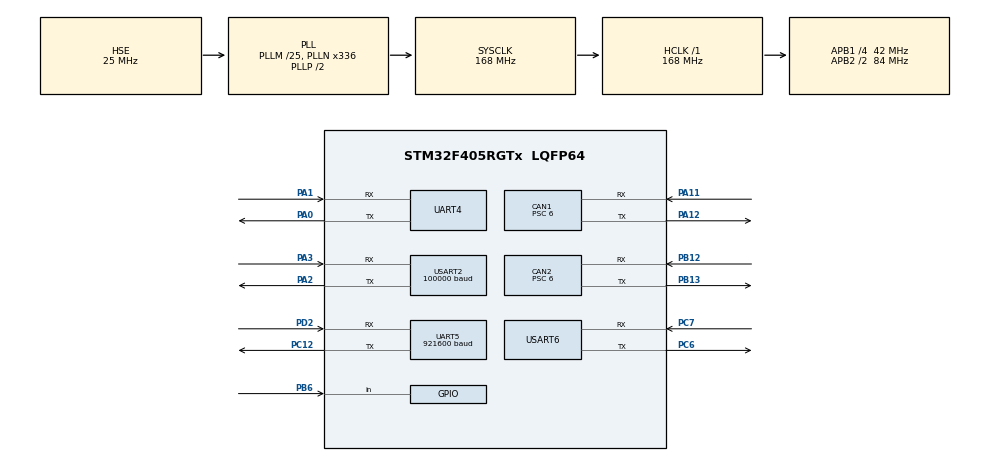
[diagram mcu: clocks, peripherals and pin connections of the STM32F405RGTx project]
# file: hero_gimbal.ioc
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CAN1.ABOM=ENABLE
CAN1.AWUM=ENABLE
CAN1.BS1=CAN_BS1_4TQ
CAN1.BS2=CAN_BS2_2TQ
CAN1.CalculateBaudRate=1000000
CAN1.CalculateTimeBit=1000
CAN1.CalculateTimeQuantum=142.85714285714286
CAN1.NART=ENABLE
CAN1.Prescaler=6
CAN1.SJW=CAN_SJW_4TQ
CAN2.ABOM=ENABLE
CAN2.AWUM=ENABLE
CAN2.BS1=CAN_BS1_4TQ
CAN2.BS2=CAN_BS2_2TQ
CAN2.CalculateBaudRate=1000000
CAN2.CalculateTimeBit=1000
CAN2.CalculateTimeQuantum=142.85714285714286
CAN2.NART=ENABLE
CAN2.Prescaler=6
CAN2.SJW=CAN_SJW_4TQ
Dma.Request0=USART2_RX
Dma.Request1=UART4_RX
Dma.UART4_RX.1.Direction=DMA_PERIPH_TO_MEMORY
Dma.UART4_RX.1.FIFOMode=DMA_FIFOMODE_DISABLE
Dma.UART4_RX.1.Instance=DMA1_Stream2
Dma.UART4_RX.1.MemDataAlignment=DMA_MDATAALIGN_BYTE
Dma.UART4_RX.1.MemInc=DMA_MINC_ENABLE
Dma.UART4_RX.1.Mode=DMA_CIRCULAR
Dma.UART4_RX.1.PeriphDataAlignment=DMA_PDATAALIGN_BYTE
Dma.UART4_RX.1.PeriphInc=DMA_PINC_DISABLE
Dma.UART4_RX.1.Priority=DMA_PRIORITY_VERY_HIGH
Dma.USART2_RX.0.Direction=DMA_PERIPH_TO_MEMORY
Dma.USART2_RX.0.FIFOMode=DMA_FIFOMODE_DISABLE
Dma.USART2_RX.0.Instance=DMA1_Stream5
Dma.USART2_RX.0.MemDataAlignment=DMA_MDATAALIGN_BYTE
Dma.USART2_RX.0.MemInc=DMA_MINC_ENABLE
Dma.USART2_RX.0.Mode=DMA_CIRCULAR
Dma.USART2_RX.0.PeriphDataAlignment=DMA_PDATAALIGN_BYTE
Dma.USART2_RX.0.PeriphInc=DMA_PINC_DISABLE
Dma.USART2_RX.0.Priority=DMA_PRIORITY_VERY_HIGH
FREERTOS.Tasks01=defaultTask,0,128,StartDefaultTask,Default,NULL,Dynamic,NULL,NULL;IniyializaTask,-3,128,StartTask02,Default,NULL,Dynamic,NULL,NULL
IWDG.Prescaler=IWDG_PRESCALER_4
IWDG.Reload=160
Mcu.Family=STM32F4
Mcu.Name=STM32F405RGTx
Mcu.Package=LQFP64
NVIC.CAN1_RX0_IRQn=true\:7\:0\:true\:false\:true\:true\:true\:true\:true
NVIC.CAN2_RX0_IRQn=true\:8\:0\:true\:false\:true\:true\:true\:true\:true
NVIC.DMA1_Stream2_IRQn=true\:5\:0\:false\:false\:true\:true\:false\:true\:true
NVIC.DMA1_Stream5_IRQn=true\:5\:0\:false\:false\:true\:true\:false\:true\:true
NVIC.PriorityGroup=NVIC_PRIORITYGROUP_4
NVIC.TIM7_IRQn=true\:15\:0\:true\:false\:true\:true\:true\:true\:true
NVIC.TIM8_TRG_COM_TIM14_IRQn=true\:15\:0\:false\:false\:true\:false\:false\:true\:true
NVIC.TimeBase=TIM8_TRG_COM_TIM14_IRQn
NVIC.TimeBaseIP=TIM14
NVIC.UART4_IRQn=true\:6\:0\:true\:false\:true\:true\:true\:true\:true
NVIC.UART5_IRQn=true\:5\:0\:true\:false\:true\:true\:true\:true\:true
NVIC.USART2_IRQn=true\:7\:0\:true\:false\:true\:true\:true\:true\:true
NVIC.USART6_IRQn=true\:5\:0\:false\:false\:true\:true\:true\:true\:true
PA0-WKUP.Mode=Asynchronous
PA0-WKUP.Signal=UART4_TX
PA1.Mode=Asynchronous
PA1.Signal=UART4_RX
PA11.Mode=CAN_Activate
PA11.Signal=CAN1_RX
PA12.Mode=CAN_Activate
PA12.Signal=CAN1_TX
PA13.Mode=Serial_Wire
PA13.Signal=SYS_JTMS-SWDIO
PA14.Mode=Serial_Wire
PA14.Signal=SYS_JTCK-SWCLK
PA2.Mode=Asynchronous
PA2.Signal=USART2_TX
PA3.Mode=Asynchronous
PA3.Signal=USART2_RX
PB12.Mode=CAN_Activate
PB12.Signal=CAN2_RX
PB13.Mode=CAN_Activate
PB13.Signal=CAN2_TX
PB6.GPIO_Mode=GPIO_MODE_INPUT
PB6.GPIO_PuPd=GPIO_PULLUP
PB6.Signal=GPIO_Input
PC12.Mode=Asynchronous
PC12.Signal=UART5_TX
PC6.Mode=Asynchronous
PC6.Signal=USART6_TX
PC7.Mode=Asynchronous
PC7.Signal=USART6_RX
PD2.Mode=Asynchronous
PD2.Signal=UART5_RX
PH0-OSC_IN.Mode=HSE-External-Oscillator
PH0-OSC_IN.Signal=RCC_OSC_IN
PH1-OSC_OUT.Mode=HSE-External-Oscillator
PH1-OSC_OUT.Signal=RCC_OSC_OUT
ProjectManager.HeapSize=0x200
ProjectManager.StackSize=0x400
ProjectManager.TargetToolchain=MDK-ARM V5.32
RCC.48MHZClocksFreq_Value=84000000
RCC.AHBFreq_Value=168000000
RCC.APB1CLKDivider=RCC_HCLK_DIV4
RCC.APB1Freq_Value=42000000
RCC.APB1TimFreq_Value=84000000
RCC.APB2CLKDivider=RCC_HCLK_DIV2
RCC.APB2Freq_Value=84000000
RCC.APB2TimFreq_Value=168000000
RCC.CortexFreq_Value=168000000
RCC.HCLKFreq_Value=168000000
RCC.HSE_VALUE=25000000
RCC.HSI_VALUE=16000000
RCC.LSE_VALUE=32768
RCC.PLLM=25
RCC.PLLN=336
RCC.PLLSourceVirtual=RCC_PLLSOURCE_HSE
RCC.SYSCLKFreq_VALUE=168000000
RCC.SYSCLKSource=RCC_SYSCLKSOURCE_PLLCLK
RCC.VCOOutputFreq_Value=336000000
TIM7.AutoReloadPreload=TIM_AUTORELOAD_PRELOAD_ENABLE
TIM7.Period=29
TIM7.Prescaler=8399
UART4.VirtualMode=Asynchronous
UART5.BaudRate=921600
UART5.VirtualMode=Asynchronous
USART2.BaudRate=100000
USART2.Mode=MODE_RX
USART2.Parity=PARITY_EVEN
USART2.VirtualMode=VM_ASYNC
USART2.WordLength=WORDLENGTH_9B
USART6.VirtualMode=VM_ASYNC
VP_FREERTOS_VS_CMSIS_V1.Mode=CMSIS_V1
VP_IWDG_VS_IWDG.Mode=IWDG_Activate
VP_SYS_VS_tim14.Mode=TIM14
VP_TIM7_VS_ClockSourceINT.Mode=Enable_Timer
board=custom

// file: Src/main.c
/* USER CODE BEGIN Header */
/**
  ******************************************************************************
  * @file           : main.c
  * @brief          : Main program body
  ******************************************************************************
  * @attention
  *
  * Copyright (c) 2023 STMicroelectronics.
  * All rights reserved.
  *
  * This software is licensed under terms that can be found in the LICENSE file
  * in the root directory of this software component.
  * If no LICENSE file comes with this software, it is provided AS-IS.
  *
  ******************************************************************************
  */
/* USER CODE END Header */
#include "main.h"
#include "cmsis_os.h"
/* USER CODE BEGIN Includes */
#include "gimbal.h"
#include "gyro.h"
#include "uartidle.h"
/* USER CODE END Includes */

void SystemClock_Config(void);
void MX_FREERTOS_Init(void);

int main(void)
{

  /* MCU Configuration--------------------------------------------------------*/

  /* Reset of all peripherals, Initializes the Flash interface and the Systick. */
  HAL_Init();

  /* Configure the system clock */
  SystemClock_Config();

  /* Initialize all configured peripherals */
  MX_GPIO_Init();
  MX_DMA_Init();
  MX_CAN1_Init();
  MX_CAN2_Init();
  MX_TIM7_Init();
  MX_USART2_UART_Init();
  MX_UART4_Init();
  MX_USART6_UART_Init();
  MX_UART5_Init();
//  MX_IWDG_Init();

  /* Call init function for freertos objects (in freertos.c) */
  MX_FREERTOS_Init();

  /* Start scheduler */
  osKernelStart();

  /* We should never get here as control is now taken by the scheduler */
  /* Infinite loop */
  while (1)
  {

  }
}

void SystemClock_Config(void)
{
  RCC_OscInitTypeDef RCC_OscInitStruct = {0};
  RCC_ClkInitTypeDef RCC_ClkInitStruct = {0};

  /** Configure the main internal regulator output voltage
  */
  __HAL_RCC_PWR_CLK_ENABLE();
  __HAL_PWR_VOLTAGESCALING_CONFIG(PWR_REGULATOR_VOLTAGE_SCALE1);

  /** Initializes the RCC Oscillators according to the specified parameters
  * in the RCC_OscInitTypeDef structure.
  */
  RCC_OscInitStruct.OscillatorType = RCC_OSCILLATORTYPE_LSI|RCC_OSCILLATORTYPE_HSE;
  RCC_OscInitStruct.HSEState = RCC_HSE_ON;
  RCC_OscInitStruct.LSIState = RCC_LSI_ON;
  RCC_OscInitStruct.PLL.PLLState = RCC_PLL_ON;
  RCC_OscInitStruct.PLL.PLLSource = RCC_PLLSOURCE_HSE;
  RCC_OscInitStruct.PLL.PLLM = 25;
  RCC_OscInitStruct.PLL.PLLN = 336;
  RCC_OscInitStruct.PLL.PLLP = RCC_PLLP_DIV2;
  RCC_OscInitStruct.PLL.PLLQ = 4;
  if (HAL_RCC_OscConfig(&RCC_OscInitStruct) != HAL_OK)
  {
    Error_Handler();
  }

  /** Initializes the CPU, AHB and APB buses clocks
  */
  RCC_ClkInitStruct.ClockType = RCC_CLOCKTYPE_HCLK|RCC_CLOCKTYPE_SYSCLK
                              |RCC_CLOCKTYPE_PCLK1|RCC_CLOCKTYPE_PCLK2;
  RCC_ClkInitStruct.SYSCLKSource = RCC_SYSCLKSOURCE_PLLCLK;
  RCC_ClkInitStruct.AHBCLKDivider = RCC_SYSCLK_DIV1;
  RCC_ClkInitStruct.APB1CLKDivider = RCC_HCLK_DIV4;
  RCC_ClkInitStruct.APB2CLKDivider = RCC_HCLK_DIV2;

  if (HAL_RCC_ClockConfig(&RCC_ClkInitStruct, FLASH_LATENCY_5) != HAL_OK)
  {
    Error_Handler();
  }
}

void HAL_TIM_PeriodElapsedCallback(TIM_HandleTypeDef *htim)
{
  if (htim->Instance == TIM14) {
    HAL_IncTick();
  }
  /* USER CODE BEGIN Callback 1 */
	if (htim->Instance == TIM7) {
		HAL_IWDG_Refresh(&hiwdg);
		imu_data();
		gimbal_whole();
//		Vision_Send();
	//		SendWave();
  }
/* USER CODE END Callback 1 */
}

void Error_Handler(void)
{
  __disable_irq();
  while (1)
  {
  }
}

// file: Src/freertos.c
/* USER CODE BEGIN Header */
/**
  ******************************************************************************
  * File Name          : freertos.c
  * Description        : Code for freertos applications
  ******************************************************************************
  * @attention
  *
  * Copyright (c) 2024 STMicroelectronics.
  * All rights reserved.
  *
  * This software is licensed under terms that can be found in the LICENSE file
  * in the root directory of this software component.
  * If no LICENSE file comes with this software, it is provided AS-IS.
  *
  ******************************************************************************
  */
/* USER CODE END Header */

#include "FreeRTOS.h"
#include "task.h"
#include "main.h"
#include "cmsis_os.h"

/* USER CODE BEGIN Includes */
#include "can.h"
#include "dma.h"
#include "iwdg.h"
#include "tim.h"
#include "usart.h"
#include "gpio.h"
#include "gimbal.h"
#include "uartidle.h"
/* USER CODE END Includes */

osThreadId defaultTaskHandle;
osThreadId IniyializaTaskHandle;

void StartDefaultTask(void const * argument);
void StartTask02(void const * argument);

void MX_FREERTOS_Init(void); /* (MISRA C 2004 rule 8.1) */

/* GetIdleTaskMemory prototype (linked to static allocation support) */
void vApplicationGetIdleTaskMemory( StaticTask_t **ppxIdleTaskTCBBuffer, StackType_t **ppxIdleTaskStackBuffer, uint32_t *pulIdleTaskStackSize );

/* USER CODE BEGIN GET_IDLE_TASK_MEMORY */
static StaticTask_t xIdleTaskTCBBuffer;
static StackType_t xIdleStack[configMINIMAL_STACK_SIZE];

void vApplicationGetIdleTaskMemory( StaticTask_t **ppxIdleTaskTCBBuffer, StackType_t **ppxIdleTaskStackBuffer, uint32_t *pulIdleTaskStackSize )
{
  *ppxIdleTaskTCBBuffer = &xIdleTaskTCBBuffer;
  *ppxIdleTaskStackBuffer = &xIdleStack[0];
  *pulIdleTaskStackSize = configMINIMAL_STACK_SIZE;
  /* place for user code */
}
/* USER CODE END GET_IDLE_TASK_MEMORY */

void MX_FREERTOS_Init(void) {

  /* Create the thread(s) */
  /* definition and creation of defaultTask */
  osThreadDef(defaultTask, StartDefaultTask, osPriorityNormal, 0, 128);
  defaultTaskHandle = osThreadCreate(osThread(defaultTask), NULL);

  /* definition and creation of IniyializaTask */
  osThreadDef(IniyializaTask, StartTask02, osPriorityIdle, 0, 128);
  IniyializaTaskHandle = osThreadCreate(osThread(IniyializaTask), NULL);

}

void StartDefaultTask(void const * argument)
{
  for(;;)
  {
    osDelay(1);
  }
}

void StartTask02(void const * argument)
{
  /* USER CODE BEGIN StartTask02 */
  /* Infinite loop */
  for(;;)
  {
  		UART5_Init();
			CAN_Init();
			TIM_Init();
			GYRO_Init();
			USART2_Init();
			USART4_Init();
			GIMBAL_INITIALIZA();
			osDelay(1);
		  vTaskDelete(IniyializaTaskHandle);
  }
  /* USER CODE END StartTask02 */
}
